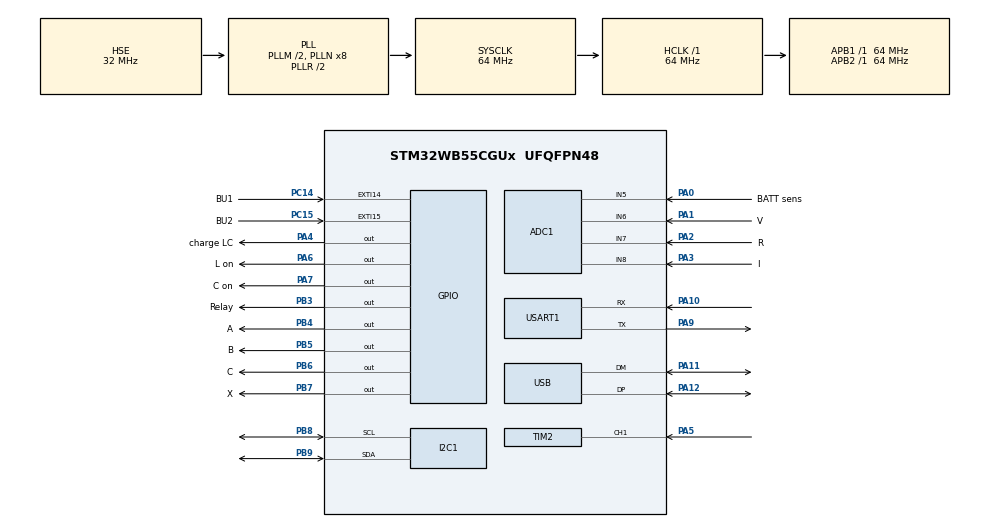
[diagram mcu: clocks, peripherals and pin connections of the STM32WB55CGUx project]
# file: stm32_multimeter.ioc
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ADC1.Channel-0\#ChannelRegularConversion=ADC_CHANNEL_5
ADC1.NbrOfConversionFlag=1
ADC1.OffsetNumber-0\#ChannelRegularConversion=ADC_OFFSET_NONE
ADC1.Rank-0\#ChannelRegularConversion=1
ADC1.SamplingTime-0\#ChannelRegularConversion=ADC_SAMPLETIME_2CYCLES_5
ADC1.master=1
I2C1.Timing=0x10B17DB5
Mcu.Family=STM32WB
Mcu.Name=STM32WB55CGUx
Mcu.Package=UFQFPN48
NVIC.EXTI15_10_IRQn=true\:0\:0\:false\:false\:true\:true\:true\:true
NVIC.HSEM_IRQn=true\:0\:0\:false\:false\:true\:false\:true\:true
NVIC.IPCC_C1_RX_IRQn=true\:0\:0\:false\:false\:true\:true\:true\:true
NVIC.IPCC_C1_TX_IRQn=true\:0\:0\:false\:false\:true\:true\:true\:true
NVIC.PriorityGroup=NVIC_PRIORITYGROUP_4
NVIC.RTC_WKUP_IRQn=true\:0\:0\:false\:false\:true\:true\:true\:true
NVIC.TIM2_IRQn=true\:0\:0\:false\:false\:true\:true\:true\:true
NVIC.USB_LP_IRQn=true\:0\:0\:false\:false\:true\:false\:true\:true
OSC_IN.Mode=HSE-External-Oscillator
OSC_IN.Signal=RCC_OSC_IN
OSC_OUT.Mode=HSE-External-Oscillator
OSC_OUT.Signal=RCC_OSC_OUT
PA0.GPIO_Label=BATT sens
PA0.Signal=ADCx_IN5
PA1.GPIO_Label=V
PA1.Signal=ADCx_IN6
PA10.Mode=Asynchronous
PA10.Signal=USART1_RX
PA11.Mode=Device
PA11.Signal=USB_DM
PA12.Mode=Device
PA12.Signal=USB_DP
PA13.Mode=Serial_Wire
PA13.Signal=SYS_JTMS-SWDIO
PA14.Mode=Serial_Wire
PA14.Signal=SYS_JTCK-SWCLK
PA2.GPIO_Label=R
PA2.Signal=ADCx_IN7
PA3.GPIO_Label=I
PA3.Signal=ADCx_IN8
PA4.GPIO_Label=charge LC
PA4.Signal=GPIO_Output
PA5.Signal=S_TIM2_CH1
PA6.GPIO_Label=L on
PA6.Signal=GPIO_Output
PA7.GPIO_Label=C on
PA7.Signal=GPIO_Output
PA9.Mode=Asynchronous
PA9.Signal=USART1_TX
PB3.GPIO_Label=Relay
PB3.Signal=GPIO_Output
PB4.GPIO_Label=A
PB4.Signal=GPIO_Output
PB5.GPIO_Label=B
PB5.Signal=GPIO_Output
PB6.GPIO_Label=C
PB6.Signal=GPIO_Output
PB7.GPIO_Label=X
PB7.Signal=GPIO_Output
PB8.Mode=I2C
PB8.Signal=I2C1_SCL
PB9.Mode=I2C
PB9.Signal=I2C1_SDA
PC14-OSC32_IN.GPIO_Label=BU1
PC14-OSC32_IN.GPIO_PuPd=GPIO_PULLDOWN
PC14-OSC32_IN.Signal=GPXTI14
PC15-OSC32_OUT.GPIO_Label=BU2
PC15-OSC32_OUT.GPIO_PuPd=GPIO_PULLDOWN
PC15-OSC32_OUT.Signal=GPXTI15
ProjectManager.HeapSize=0x200
ProjectManager.StackSize=0x400
ProjectManager.TargetToolchain=STM32CubeIDE
RCC.ADCFreq_Value=48000000
RCC.AHB2CLKDivider=RCC_SYSCLK_DIV2
RCC.AHBFreq_Value=64000000
RCC.APB1Freq_Value=64000000
RCC.APB1TimFreq_Value=64000000
RCC.APB2Freq_Value=64000000
RCC.APB2TimFreq_Value=64000000
RCC.APB3Freq_Value=16000000
RCC.Cortex2_Div=SYSTICK_CLKSOURCE_HCLK_DIV8
RCC.CortexFreq_Value=64000000
RCC.HCLKFreq_Value=64000000
RCC.HSE_VALUE=32000000
RCC.HSI48_VALUE=48000000
RCC.HSI_VALUE=16000000
RCC.LSE_VALUE=32768
RCC.PLLM=RCC_PLLM_DIV2
RCC.PLLSAI1N=6
RCC.PLLSourceVirtual=RCC_PLLSOURCE_HSE
RCC.SYSCLKFreq_VALUE=64000000
RCC.SYSCLKSource=RCC_SYSCLKSOURCE_PLLCLK
RCC.USBFreq_Value=48000000
RCC.VCOOutputFreq_Value=128000000
RF1.Mode=RF1_Activate
RF1.Signal=RF_RF1
SH.ADCx_IN5.0=ADC1_IN5,IN5-Single-Ended
SH.ADCx_IN6.0=ADC1_IN6,IN6-Single-Ended
SH.ADCx_IN7.0=ADC1_IN7,IN7-Single-Ended
SH.ADCx_IN8.0=ADC1_IN8,IN8-Single-Ended
SH.S_TIM2_CH1.0=TIM2_CH1,Input_Capture1_from_TI1
STM32_WPAN.AD_TYPE_COMPLETE_LOCAL_NAME=STM32-Multimeter
STM32_WPAN.AD_TYPE_COMPLETE_LOCAL_NAME_LENGTH=17
STM32_WPAN.CUSTOM_P2P_SERVER=Disabled
STM32_WPAN.CUSTOM_TEMPLATE=Enabled
STM32_WPAN.INCLUDE_AD_TYPE_COMPLETE_LOCAL_NAME=1
STM32_WPAN.NUMBER_OF_SERVICES=1
STM32_WPAN.SERVICE1_CHAR1_GATT_NOTIFY_READ_REQ_AND_WAIT_FOR_APPL_RESP=\ 
STM32_WPAN.SERVICE1_CHAR1_GATT_NOTIFY_WRITE_REQ_AND_WAIT_FOR_APPL_RESP=\ 
STM32_WPAN.SERVICE1_CHAR1_LONG_NAME=charWrite
STM32_WPAN.SERVICE1_CHAR1_PROP_WRITE=CHAR_PROP_WRITE
STM32_WPAN.SERVICE1_CHAR1_SHORT_NAME=charWrite
STM32_WPAN.SERVICE1_LONG_NAME=mService
STM32_WPAN.SERVICE1_SHORT_NAME=mService
TIM2.Channel-Input_Capture1_from_TI1=TIM_CHANNEL_1
TIM2.ICPolarity_CH1=TIM_INPUTCHANNELPOLARITY_FALLING
TIM2.Prescaler=63
USART1.VirtualMode-Asynchronous=VM_ASYNC
USB_DEVICE.CLASS_NAME_FS=CDC
USB_DEVICE.VirtualMode=Cdc
USB_DEVICE.VirtualModeFS=Cdc_FS
VP_HSEM_VS_HSEM.Mode=HSEM_Activate
VP_IPCC_VS_IPCC.Mode=IPCC_Activate
VP_MEMORYMAP_VS_MEMORYMAP.Mode=CurAppReg
VP_RTC_VS_RTC_Activate.Mode=RTC_Enabled
VP_RTC_VS_RTC_WakeUp_intern.Mode=WakeUp
VP_SEQUENCER_VS_SEQUENCER.Mode=SEQUENCER_Enabled
VP_STM32_WPAN_VS_BLE_HOST.Mode=STM32_WPAN_Enabled
VP_TIM2_VS_ClockSourceINT.Mode=Internal
VP_TINY_LPM_VS_TINY_LPM.Mode=TINY_LPM_Enabled
VP_USB_DEVICE_VS_USB_DEVICE_CDC_FS.Mode=CDC_FS
board=custom

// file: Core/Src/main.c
/* USER CODE BEGIN Header */
/**
  ******************************************************************************
  * @file           : main.c
  * @brief          : Main program body
  ******************************************************************************
  * @attention
  *
  * Copyright (c) 2024 STMicroelectronics.
  * All rights reserved.
  *
  * This software is licensed under terms that can be found in the LICENSE file
  * in the root directory of this software component.
  * If no LICENSE file comes with this software, it is provided AS-IS.
  *
  ******************************************************************************
  */
/* USER CODE END Header */
#include "main.h"
#include "usb_device.h"

/* USER CODE BEGIN Includes */
#include "stdbool.h"
#include "usbd_cdc_if.h"
#include "stdio.h"
/* USER CODE END Includes */

/* USER CODE BEGIN PTD */
//Multiplexer settings
#define voltage 0x09
#define voltage_1_10 0x00
#define voltage_1_100 0x03
#define current_0_1A 0x01
#define current_1A 0x06
#define curremt_10A 0x07
#define resistance_100 0x02
#define resistance_1k	0x05
#define resistance_100k 0x04

typedef enum {
	IDLE,
	VOLTAGE,
	RESISTANECE,
	CURRENT,
	CONTINUITY,
	POWER,
	INDUCTANCE,
	CAPACITANCE,
	STATE_COUNT
}State_t;
/* USER CODE END PTD */

ADC_HandleTypeDef hadc1;

I2C_HandleTypeDef hi2c1;

IPCC_HandleTypeDef hipcc;

RTC_HandleTypeDef hrtc;

TIM_HandleTypeDef htim2;

UART_HandleTypeDef huart1;

void SystemClock_Config(void);
void PeriphCommonClock_Config(void);
static void MX_GPIO_Init(void);
static void MX_ADC1_Init(void);
static void MX_USART1_UART_Init(void);
static void MX_IPCC_Init(void);
static void MX_RTC_Init(void);
static void MX_I2C1_Init(void);
static void MX_TIM2_Init(void);
static void MX_RF_Init(void);
/* USER CODE BEGIN PFP */
void setMux(int val){

	if(val<=0x07){								// if value is out of range set input X to 0
		HAL_GPIO_WritePin(GPIOB, GPIO_PIN_7, 1);
	}else{
		HAL_GPIO_WritePin(GPIOB, GPIO_PIN_7, 0);
	}

	HAL_GPIO_WritePin(GPIOB, GPIO_PIN_4, (val & 0x01) ? 1 : 0);	//val sets A B C inputs, for example val = 3 -> 0b011 -> A = 0 B = 1 C = 1
	HAL_GPIO_WritePin(GPIOB, GPIO_PIN_5, (val & 0x02) ? 1 : 0);
	HAL_GPIO_WritePin(GPIOB, GPIO_PIN_6, (val & 0x04) ? 1 : 0);
}

void ADC_SetActiveChannel(ADC_HandleTypeDef *hadc, uint32_t AdcChannel)
{
  ADC_ChannelConfTypeDef sConfig = {0};
  sConfig.Channel = AdcChannel;
  sConfig.Rank = 1;
  sConfig.SamplingTime = ADC_SAMPLETIME_6CYCLES_5;
  if (HAL_ADC_ConfigChannel(hadc, &sConfig) != HAL_OK)
  {
   Error_Handler();
  }
}

float getVoltge(){

	uint32_t raw_v;

	HAL_GPIO_WritePin(GPIOB, GPIO_PIN_3, 0);		//set relay to voltage AFE
	setMux(voltage_1_100);
	HAL_Delay(100);

	ADC_SetActiveChannel(&hadc1, ADC_CHANNEL_6);	//set adc channel to voltage input
	HAL_ADC_Start(&hadc1);

	HAL_ADC_PollForConversion(&hadc1, 100);
	raw_v = 100*HAL_ADC_GetValue(&hadc1);

	if(raw_v<4000){
		setMux(voltage_1_10);
		HAL_ADC_Start(&hadc1);
		HAL_ADC_PollForConversion(&hadc1, 100);
		raw_v = 10*HAL_ADC_GetValue(&hadc1);
	}

	if(raw_v<4000){
		setMux(voltage);
		HAL_ADC_PollForConversion(&hadc1, 100);
		raw_v = HAL_ADC_GetValue(&hadc1);
	}

	float V = (raw_v/4095.0f)*3.3f;
	return V;
}

float getResistance(){
	float R;
	int adc;
	HAL_GPIO_WritePin(GPIOB, GPIO_PIN_3, 1);		//set relay to resistance AFE
	setMux(resistance_100k);
	HAL_Delay(100);

	ADC_SetActiveChannel(&hadc1, ADC_CHANNEL_7);	//set adc channel to resistance input
	HAL_ADC_Start(&hadc1);
	HAL_ADC_PollForConversion(&hadc1, 100);

	adc = HAL_ADC_GetValue(&hadc1);
	R = (100000*adc/4095.0f)/(1-adc/4095.0f);

	if(R<10000){
		setMux(resistance_1k);
		HAL_ADC_Start(&hadc1);
		HAL_ADC_PollForConversion(&hadc1, 100);
		adc = HAL_ADC_GetValue(&hadc1);
		R = (1000*adc/4095.0f)/(1-adc/4095.0f);
	}
	if(R<1000){
		setMux(resistance_100);
		HAL_ADC_Start(&hadc1);
		HAL_ADC_PollForConversion(&hadc1, 100);
		adc = HAL_ADC_GetValue(&hadc1);
		R = (100*adc/4095.0f)/(1-adc/4095.0f);
	}
	return R;
}

float getCurrent(){		// disconects breafly when swiching range because multiplexer can operate one output at the time - to fix it you need to swich one range off after siching on different one first
	float I;
	int adc;
	setMux(curremt_10A);
	HAL_Delay(10);

	ADC_SetActiveChannel(&hadc1, ADC_CHANNEL_8);	//set adc channel to current input
	HAL_ADC_Start(&hadc1);
	HAL_ADC_PollForConversion(&hadc1, 100);

	adc = HAL_ADC_GetValue(&hadc1);
	I = (adc/4095.0f)*3.3f*10;	// V/R resistance is 1/100 ohm with 10x amplifier -> V/10*1/100 -> V*10

	if(I<1){
		setMux(current_1A);
		HAL_Delay(10);
		HAL_ADC_Start(&hadc1);
		HAL_ADC_PollForConversion(&hadc1, 100);
		adc = HAL_ADC_GetValue(&hadc1);
		I = (adc/4095.0f)*3.3f*1;	// V/R resistance is 1/10 ohm with 10x amplifier -> V/10*1/10 -> V*1
	}

	if(I<0.1f){
			setMux(current_0_1A);
			HAL_Delay(10);
			HAL_ADC_Start(&hadc1);
			HAL_ADC_PollForConversion(&hadc1, 100);
			adc = HAL_ADC_GetValue(&hadc1);
			I = (adc/4095.0f)*3.3f*0.1f;	// V/R resistance is 1 ohm with 10x amplifier -> V/10*1 -> V*0.1
		}
	return I;
}

/* USER CODE END PFP */

/* USER CODE BEGIN 0 */
volatile float frequency = 0;
volatile uint32_t capture_current = 0;
volatile uint32_t capture_previous = 0;
volatile uint32_t time_diff_us = 0;
volatile bool first_captured = 0;

void HAL_TIM_IC_CaptureCallback(TIM_HandleTypeDef *htim){
	if(htim->Instance == TIM2){
		if(htim->Channel == HAL_TIM_ACTIVE_CHANNEL_1){

			capture_current = HAL_TIM_ReadCapturedValue(htim, TIM_CHANNEL_1);

			if(first_captured){

				if(capture_current >= capture_previous){
					time_diff_us = capture_current - capture_previous;
				}else{
					time_diff_us = (0xFFFF - capture_previous) + capture_current + 1;
				}

				frequency = time_diff_us == 0 ? 0xFFFF : 1000000.0f/time_diff_us;  //10^6 to get frequency in Hz

			}else{
				first_captured = 1;
			}

			capture_previous = capture_current;

		}
	}
}

const float pi = 3.1416;
const float ref_C = 0.000001;
const float ref_L = 0.000001;

float getInductance(){
	float L;

	HAL_GPIO_WritePin(GPIOA, GPIO_PIN_7, 1);

	HAL_GPIO_WritePin(GPIOA, GPIO_PIN_4, 1); // charge
	HAL_Delay(10);
	HAL_GPIO_WritePin(GPIOA, GPIO_PIN_4, 0);
	HAL_Delay(100);							//time for LC oscillation and frequency capture

	HAL_GPIO_WritePin(GPIOA, GPIO_PIN_7, 0);

	L=1000000/((2*pi*frequency)*(2*pi*frequency)*ref_C);	// result in uH

	return L;
}
float getCapacitance(){
	float C;

	HAL_GPIO_WritePin(GPIOA, GPIO_PIN_6, 1);

	HAL_GPIO_WritePin(GPIOA, GPIO_PIN_4, 1); // charge
	HAL_Delay(10);
	HAL_GPIO_WritePin(GPIOA, GPIO_PIN_4, 0);
	HAL_Delay(100);							//time for LC oscillation and frequency capture

	HAL_GPIO_WritePin(GPIOA, GPIO_PIN_6, 0);

	C=1000000/((2*pi*frequency)*(2*pi*frequency)*ref_L);	// result in uF

	return C;
}

void sendDataBle(uint8_t* data, uint16_t length){
//	tBleStatus status;

//	status = Custom_STM_App_Update_Char(CUSTOM_STM_CHARWRITE, data);

}

State_t state = IDLE;
/* USER CODE END 0 */

int main(void)
{

  /* MCU Configuration--------------------------------------------------------*/

  /* Reset of all peripherals, Initializes the Flash interface and the Systick. */
  HAL_Init();
  /* Config code for STM32_WPAN (HSE Tuning must be done before system clock configuration) */
  MX_APPE_Config();

  /* Configure the system clock */
  SystemClock_Config();

  /* Configure the peripherals common clocks */
  PeriphCommonClock_Config();

  /* IPCC initialisation */
  MX_IPCC_Init();

  /* Initialize all configured peripherals */
  MX_GPIO_Init();
  MX_ADC1_Init();
  MX_USART1_UART_Init();
  MX_USB_Device_Init();
  MX_RTC_Init();
  MX_I2C1_Init();
  MX_TIM2_Init();
  MX_RF_Init();
  /* USER CODE BEGIN 2 */
  HAL_ADC_Start(&hadc1);
  HAL_TIM_IC_Start(&htim2, TIM_CHANNEL_1);

  uint8_t msg[50] = "test\n\r";

  float measurement;

  /* USER CODE END 2 */

  /* Init code for STM32_WPAN */
  MX_APPE_Init();

  /* Infinite loop */
  /* USER CODE BEGIN WHILE */
  while (1)
  {
	  switch (state) {
	  	  case IDLE:
	  		  // Switch off all outputs:
	  		  HAL_GPIO_WritePin(GPIOA, GPIO_PIN_4, 0);
	  		  HAL_GPIO_WritePin(GPIOA, GPIO_PIN_6, 0);
	  		  HAL_GPIO_WritePin(GPIOA, GPIO_PIN_7, 0);
	  		  HAL_GPIO_WritePin(GPIOB, GPIO_PIN_3, 0);
	  		  HAL_GPIO_WritePin(GPIOB, GPIO_PIN_4, 0);
	  		  HAL_GPIO_WritePin(GPIOB, GPIO_PIN_5, 0);
	  		  HAL_GPIO_WritePin(GPIOB, GPIO_PIN_6, 0);
	  		  HAL_GPIO_WritePin(GPIOB, GPIO_PIN_7, 0);
	  		  HAL_Delay(250);

	  	  case VOLTAGE:
	  		  measurement = getVoltge();
	  		  sprintf(msg,"V: %f /r/n",measurement);

	  	  case RESISTANECE:
	  		  measurement = getResistance();
	  		  sprintf(msg,"R: %f /r/n",measurement);

	  	  case CURRENT:
	  		  measurement = getCurrent();
	  		  sprintf(msg,"I: %f /r/n",measurement);

	  	  case CONTINUITY:
	  		  measurement = getResistance();
	  		  if(measurement<100){		// continuity is detected if connection has low resistance
	  			  measurement = 1;
	  		  }else{
	  			  measurement = 0;
	  		  }
	  		sprintf(msg,"CON: %d /r/n",(int)measurement);

	  	  case POWER:
	  		measurement = getVoltge();
	  		measurement = measurement*getCurrent();
	  		sprintf(msg,"P: %f /r/n");

	  	  case INDUCTANCE:
	  		  measurement = getInductance();
	  		  sprintf(msg,"L: %f uH/r/n");

	  	  case CAPACITANCE:
	  		  measurement = getCapacitance();
	  		  sprintf(msg,"C: %f uH/r/n");

	  	  default:
	  		  state = IDLE;
	  }

	  CDC_Transmit_FS(msg, sizeof(msg));
	  HAL_Delay(250);
    /* USER CODE END WHILE */
    MX_APPE_Process();

  }
}

void SystemClock_Config(void)
{
  RCC_OscInitTypeDef RCC_OscInitStruct = {0};
  RCC_ClkInitTypeDef RCC_ClkInitStruct = {0};

  /** Configure the main internal regulator output voltage
  */
  __HAL_PWR_VOLTAGESCALING_CONFIG(PWR_REGULATOR_VOLTAGE_SCALE1);

  /** Initializes the RCC Oscillators according to the specified parameters
  * in the RCC_OscInitTypeDef structure.
  */
  RCC_OscInitStruct.OscillatorType = RCC_OSCILLATORTYPE_HSI|RCC_OSCILLATORTYPE_LSI1
                              |RCC_OSCILLATORTYPE_HSE;
  RCC_OscInitStruct.HSEState = RCC_HSE_ON;
  RCC_OscInitStruct.HSIState = RCC_HSI_ON;
  RCC_OscInitStruct.HSICalibrationValue = RCC_HSICALIBRATION_DEFAULT;
  RCC_OscInitStruct.LSIState = RCC_LSI_ON;
  RCC_OscInitStruct.PLL.PLLState = RCC_PLL_ON;
  RCC_OscInitStruct.PLL.PLLSource = RCC_PLLSOURCE_HSE;
  RCC_OscInitStruct.PLL.PLLM = RCC_PLLM_DIV2;
  RCC_OscInitStruct.PLL.PLLN = 8;
  RCC_OscInitStruct.PLL.PLLP = RCC_PLLP_DIV2;
  RCC_OscInitStruct.PLL.PLLR = RCC_PLLR_DIV2;
  RCC_OscInitStruct.PLL.PLLQ = RCC_PLLQ_DIV2;
  if (HAL_RCC_OscConfig(&RCC_OscInitStruct) != HAL_OK)
  {
    Error_Handler();
  }

  /** Configure the SYSCLKSource, HCLK, PCLK1 and PCLK2 clocks dividers
  */
  RCC_ClkInitStruct.ClockType = RCC_CLOCKTYPE_HCLK4|RCC_CLOCKTYPE_HCLK2
                              |RCC_CLOCKTYPE_HCLK|RCC_CLOCKTYPE_SYSCLK
                              |RCC_CLOCKTYPE_PCLK1|RCC_CLOCKTYPE_PCLK2;
  RCC_ClkInitStruct.SYSCLKSource = RCC_SYSCLKSOURCE_PLLCLK;
  RCC_ClkInitStruct.AHBCLKDivider = RCC_SYSCLK_DIV1;
  RCC_ClkInitStruct.APB1CLKDivider = RCC_HCLK_DIV1;
  RCC_ClkInitStruct.APB2CLKDivider = RCC_HCLK_DIV1;
  RCC_ClkInitStruct.AHBCLK2Divider = RCC_SYSCLK_DIV2;
  RCC_ClkInitStruct.AHBCLK4Divider = RCC_SYSCLK_DIV1;

  if (HAL_RCC_ClockConfig(&RCC_ClkInitStruct, FLASH_LATENCY_3) != HAL_OK)
  {
    Error_Handler();
  }
}

void PeriphCommonClock_Config(void)
{
  RCC_PeriphCLKInitTypeDef PeriphClkInitStruct = {0};

  /** Initializes the peripherals clock
  */
  PeriphClkInitStruct.PeriphClockSelection = RCC_PERIPHCLK_SMPS|RCC_PERIPHCLK_RFWAKEUP
                              |RCC_PERIPHCLK_USB|RCC_PERIPHCLK_ADC;
  PeriphClkInitStruct.PLLSAI1.PLLN = 6;
  PeriphClkInitStruct.PLLSAI1.PLLP = RCC_PLLP_DIV2;
  PeriphClkInitStruct.PLLSAI1.PLLQ = RCC_PLLQ_DIV2;
  PeriphClkInitStruct.PLLSAI1.PLLR = RCC_PLLR_DIV2;
  PeriphClkInitStruct.PLLSAI1.PLLSAI1ClockOut = RCC_PLLSAI1_USBCLK|RCC_PLLSAI1_ADCCLK;
  PeriphClkInitStruct.UsbClockSelection = RCC_USBCLKSOURCE_PLLSAI1;
  PeriphClkInitStruct.AdcClockSelection = RCC_ADCCLKSOURCE_PLLSAI1;
  PeriphClkInitStruct.RFWakeUpClockSelection = RCC_RFWKPCLKSOURCE_HSE_DIV1024;
  PeriphClkInitStruct.SmpsClockSelection = RCC_SMPSCLKSOURCE_HSI;
  PeriphClkInitStruct.SmpsDivSelection = RCC_SMPSCLKDIV_RANGE1;

  if (HAL_RCCEx_PeriphCLKConfig(&PeriphClkInitStruct) != HAL_OK)
  {
    Error_Handler();
  }
}

static void MX_ADC1_Init(void)
{

  ADC_ChannelConfTypeDef sConfig = {0};

  /** Common config
  */
  hadc1.Instance = ADC1;
  hadc1.Init.ClockPrescaler = ADC_CLOCK_ASYNC_DIV1;
  hadc1.Init.Resolution = ADC_RESOLUTION_12B;
  hadc1.Init.DataAlign = ADC_DATAALIGN_RIGHT;
  hadc1.Init.ScanConvMode = ADC_SCAN_DISABLE;
  hadc1.Init.EOCSelection = ADC_EOC_SINGLE_CONV;
  hadc1.Init.LowPowerAutoWait = DISABLE;
  hadc1.Init.ContinuousConvMode = DISABLE;
  hadc1.Init.NbrOfConversion = 1;
  hadc1.Init.DiscontinuousConvMode = DISABLE;
  hadc1.Init.ExternalTrigConv = ADC_SOFTWARE_START;
  hadc1.Init.ExternalTrigConvEdge = ADC_EXTERNALTRIGCONVEDGE_NONE;
  hadc1.Init.DMAContinuousRequests = DISABLE;
  hadc1.Init.Overrun = ADC_OVR_DATA_PRESERVED;
  hadc1.Init.OversamplingMode = DISABLE;
  if (HAL_ADC_Init(&hadc1) != HAL_OK)
  {
    Error_Handler();
  }

  /** Configure Regular Channel
  */
  sConfig.Channel = ADC_CHANNEL_5;
  sConfig.Rank = ADC_REGULAR_RANK_1;
  sConfig.SamplingTime = ADC_SAMPLETIME_2CYCLES_5;
  sConfig.SingleDiff = ADC_SINGLE_ENDED;
  sConfig.OffsetNumber = ADC_OFFSET_NONE;
  sConfig.Offset = 0;
  if (HAL_ADC_ConfigChannel(&hadc1, &sConfig) != HAL_OK)
  {
    Error_Handler();
  }

}

static void MX_I2C1_Init(void)
{

  hi2c1.Instance = I2C1;
  hi2c1.Init.Timing = 0x10B17DB5;
  hi2c1.Init.OwnAddress1 = 0;
  hi2c1.Init.AddressingMode = I2C_ADDRESSINGMODE_7BIT;
  hi2c1.Init.DualAddressMode = I2C_DUALADDRESS_DISABLE;
  hi2c1.Init.OwnAddress2 = 0;
  hi2c1.Init.OwnAddress2Masks = I2C_OA2_NOMASK;
  hi2c1.Init.GeneralCallMode = I2C_GENERALCALL_DISABLE;
  hi2c1.Init.NoStretchMode = I2C_NOSTRETCH_DISABLE;
  if (HAL_I2C_Init(&hi2c1) != HAL_OK)
  {
    Error_Handler();
  }

  /** Configure Analogue filter
  */
  if (HAL_I2CEx_ConfigAnalogFilter(&hi2c1, I2C_ANALOGFILTER_ENABLE) != HAL_OK)
  {
    Error_Handler();
  }

  /** Configure Digital filter
  */
  if (HAL_I2CEx_ConfigDigitalFilter(&hi2c1, 0) != HAL_OK)
  {
    Error_Handler();
  }

}

static void MX_IPCC_Init(void)
{

  hipcc.Instance = IPCC;
  if (HAL_IPCC_Init(&hipcc) != HAL_OK)
  {
    Error_Handler();
  }

}

static void MX_RF_Init(void)
{

}

static void MX_RTC_Init(void)
{

  /** Initialize RTC Only
  */
  hrtc.Instance = RTC;
  hrtc.Init.HourFormat = RTC_HOURFORMAT_24;
  hrtc.Init.AsynchPrediv = CFG_RTC_ASYNCH_PRESCALER;
  hrtc.Init.SynchPrediv = CFG_RTC_SYNCH_PRESCALER;
  hrtc.Init.OutPut = RTC_OUTPUT_DISABLE;
  hrtc.Init.OutPutPolarity = RTC_OUTPUT_POLARITY_HIGH;
  hrtc.Init.OutPutType = RTC_OUTPUT_TYPE_OPENDRAIN;
  hrtc.Init.OutPutRemap = RTC_OUTPUT_REMAP_NONE;
  if (HAL_RTC_Init(&hrtc) != HAL_OK)
  {
    Error_Handler();
  }

  /** Enable the WakeUp
  */
  if (HAL_RTCEx_SetWakeUpTimer_IT(&hrtc, 0, RTC_WAKEUPCLOCK_RTCCLK_DIV16) != HAL_OK)
  {
    Error_Handler();
  }

}

static void MX_TIM2_Init(void)
{

  TIM_ClockConfigTypeDef sClockSourceConfig = {0};
  TIM_MasterConfigTypeDef sMasterConfig = {0};
  TIM_IC_InitTypeDef sConfigIC = {0};

  htim2.Instance = TIM2;
  htim2.Init.Prescaler = 63;
  htim2.Init.CounterMode = TIM_COUNTERMODE_UP;
  htim2.Init.Period = 4294967295;
  htim2.Init.ClockDivision = TIM_CLOCKDIVISION_DIV1;
  htim2.Init.AutoReloadPreload = TIM_AUTORELOAD_PRELOAD_DISABLE;
  if (HAL_TIM_Base_Init(&htim2) != HAL_OK)
  {
    Error_Handler();
  }
  sClockSourceConfig.ClockSource = TIM_CLOCKSOURCE_INTERNAL;
  if (HAL_TIM_ConfigClockSource(&htim2, &sClockSourceConfig) != HAL_OK)
  {
    Error_Handler();
  }
  if (HAL_TIM_IC_Init(&htim2) != HAL_OK)
  {
    Error_Handler();
  }
  sMasterConfig.MasterOutputTrigger = TIM_TRGO_RESET;
  sMasterConfig.MasterSlaveMode = TIM_MASTERSLAVEMODE_DISABLE;
  if (HAL_TIMEx_MasterConfigSynchronization(&htim2, &sMasterConfig) != HAL_OK)
  {
    Error_Handler();
  }
  sConfigIC.ICPolarity = TIM_INPUTCHANNELPOLARITY_FALLING;
  sConfigIC.ICSelection = TIM_ICSELECTION_DIRECTTI;
  sConfigIC.ICPrescaler = TIM_ICPSC_DIV1;
  sConfigIC.ICFilter = 0;
  if (HAL_TIM_IC_ConfigChannel(&htim2, &sConfigIC, TIM_CHANNEL_1) != HAL_OK)
  {
    Error_Handler();
  }

}

static void MX_USART1_UART_Init(void)
{

  huart1.Instance = USART1;
  huart1.Init.BaudRate = 115200;
  huart1.Init.WordLength = UART_WORDLENGTH_8B;
  huart1.Init.StopBits = UART_STOPBITS_1;
  huart1.Init.Parity = UART_PARITY_NONE;
  huart1.Init.Mode = UART_MODE_TX_RX;
  huart1.Init.HwFlowCtl = UART_HWCONTROL_NONE;
  huart1.Init.OverSampling = UART_OVERSAMPLING_16;
  huart1.Init.OneBitSampling = UART_ONE_BIT_SAMPLE_DISABLE;
  huart1.Init.ClockPrescaler = UART_PRESCALER_DIV1;
  huart1.AdvancedInit.AdvFeatureInit = UART_ADVFEATURE_NO_INIT;
  if (HAL_UART_Init(&huart1) != HAL_OK)
  {
    Error_Handler();
  }
  if (HAL_UARTEx_SetTxFifoThreshold(&huart1, UART_TXFIFO_THRESHOLD_1_8) != HAL_OK)
  {
    Error_Handler();
  }
  if (HAL_UARTEx_SetRxFifoThreshold(&huart1, UART_RXFIFO_THRESHOLD_1_8) != HAL_OK)
  {
    Error_Handler();
  }
  if (HAL_UARTEx_DisableFifoMode(&huart1) != HAL_OK)
  {
    Error_Handler();
  }

}

static void MX_GPIO_Init(void)
{
  GPIO_InitTypeDef GPIO_InitStruct = {0};

  /* GPIO Ports Clock Enable */
  __HAL_RCC_GPIOC_CLK_ENABLE();
  __HAL_RCC_GPIOB_CLK_ENABLE();
  __HAL_RCC_GPIOA_CLK_ENABLE();

  /*Configure GPIO pin Output Level */
  HAL_GPIO_WritePin(GPIOA, charge_LC_Pin|L_on_Pin|C_on_Pin, GPIO_PIN_RESET);

  /*Configure GPIO pin Output Level */
  HAL_GPIO_WritePin(GPIOB, Relay_Pin|A_Pin|B_Pin|C_Pin
                          |X_Pin, GPIO_PIN_RESET);

  /*Configure GPIO pins : BU1_Pin BU2_Pin */
  GPIO_InitStruct.Pin = BU1_Pin|BU2_Pin;
  GPIO_InitStruct.Mode = GPIO_MODE_IT_RISING;
  GPIO_InitStruct.Pull = GPIO_PULLDOWN;
  HAL_GPIO_Init(GPIOC, &GPIO_InitStruct);

  /*Configure GPIO pins : charge_LC_Pin L_on_Pin C_on_Pin */
  GPIO_InitStruct.Pin = charge_LC_Pin|L_on_Pin|C_on_Pin;
  GPIO_InitStruct.Mode = GPIO_MODE_OUTPUT_PP;
  GPIO_InitStruct.Pull = GPIO_NOPULL;
  GPIO_InitStruct.Speed = GPIO_SPEED_FREQ_LOW;
  HAL_GPIO_Init(GPIOA, &GPIO_InitStruct);

  /*Configure GPIO pins : Relay_Pin A_Pin B_Pin C_Pin
                           X_Pin */
  GPIO_InitStruct.Pin = Relay_Pin|A_Pin|B_Pin|C_Pin
                          |X_Pin;
  GPIO_InitStruct.Mode = GPIO_MODE_OUTPUT_PP;
  GPIO_InitStruct.Pull = GPIO_NOPULL;
  GPIO_InitStruct.Speed = GPIO_SPEED_FREQ_LOW;
  HAL_GPIO_Init(GPIOB, &GPIO_InitStruct);

  /* EXTI interrupt init*/
  HAL_NVIC_SetPriority(EXTI15_10_IRQn, 0, 0);
  HAL_NVIC_EnableIRQ(EXTI15_10_IRQn);

}

/* USER CODE BEGIN 4 */

void HAL_GPIO_EXTI_Callback(uint16_t GPIO_Pin){		// interrupt triggered on rising edge
		if(GPIO_Pin == GPIO_PIN_14){	// pin with internal pulldown
			state++;
			if(state >= STATE_COUNT){
				state = IDLE;
			}
		}
		if(GPIO_Pin == GPIO_PIN_15){	// pin with internal pulldown
			if(state == IDLE){
				state = STATE_COUNT-1;
			}else{
				state--;
			}
		}
}

/* USER CODE END 4 */

void Error_Handler(void)
{
  __disable_irq();
  while (1)
  {
  }
}
